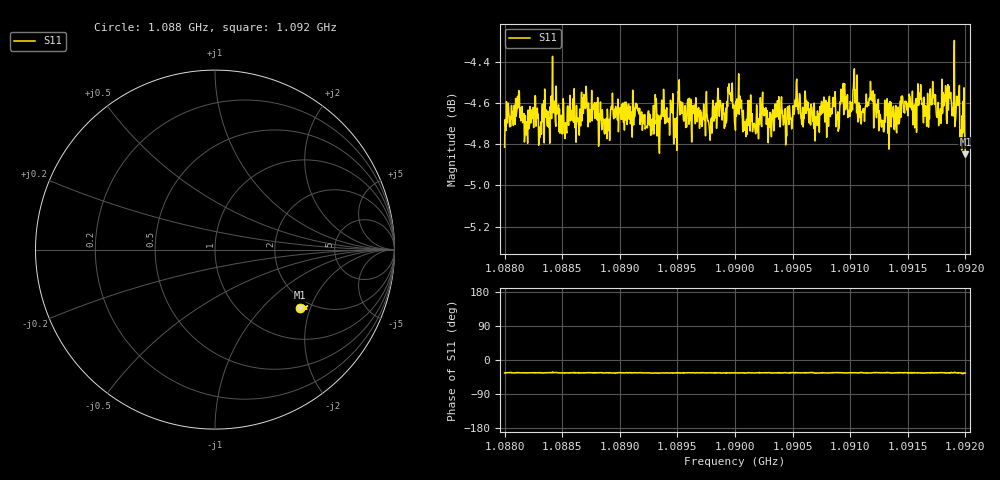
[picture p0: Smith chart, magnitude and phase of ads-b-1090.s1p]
! Calibrated averaged scanner-service zoom
# Hz S RI R 50
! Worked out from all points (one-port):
!   1001 points, 1.088 GHz to 1.092 GHz, reference 50 ohm
!   lowest |S11| = -4.8 dB at 1.092 GHz (marker M1), VSWR 3.67, Z = 87.9 - j84.4 ohm
!   |S11| at or under -10 dB: nowhere
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1.088e9  0.4753 -0.3227
1.08804e9  0.4877 -0.3219
1.088316e9  0.4852 -0.3227
1.088436e9  0.4913 -0.3213
1.0885e9  0.477 -0.3278
1.088828e9  0.4869 -0.3223
1.088944e9  0.4857 -0.3254
1.089e9  0.4891 -0.3238
1.089344e9  0.4706 -0.3261
1.0895e9  0.4865 -0.3256
1.09e9  0.483 -0.3246
1.0905e9  0.4905 -0.3185
1.090652e9  0.4909 -0.322
1.090712e9  0.4814 -0.3264
1.090756e9  0.4839 -0.3347
1.090884e9  0.4876 -0.3207
1.090944e9  0.4852 -0.327
1.091e9  0.4918 -0.3249
1.091164e9  0.4863 -0.3346
1.091216e9  0.4922 -0.3234
1.091368e9  0.4808 -0.3322
1.0915e9  0.4811 -0.3322
1.091624e9  0.4867 -0.3306
1.091772e9  0.4857 -0.3261
1.091844e9  0.4873 -0.3296
1.091896e9  0.4898 -0.3192
1.091968e9  0.4667 -0.3335
1.092e9  0.4724 -0.3228
